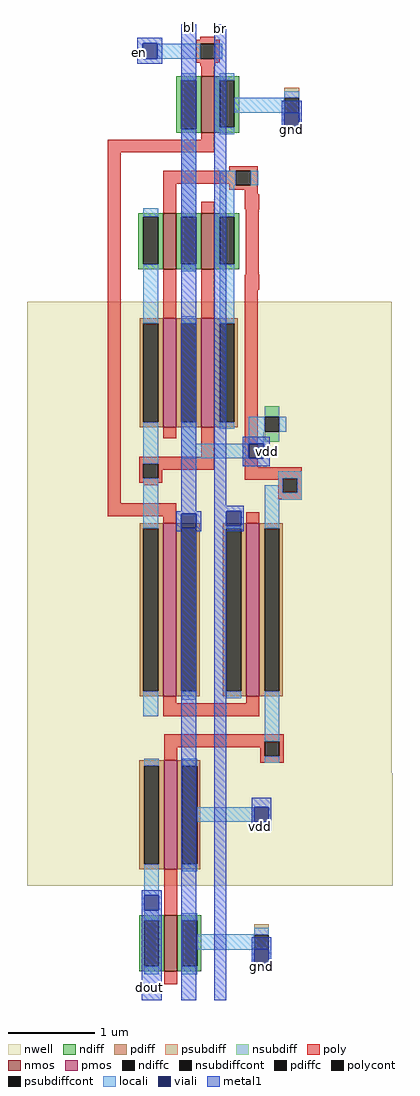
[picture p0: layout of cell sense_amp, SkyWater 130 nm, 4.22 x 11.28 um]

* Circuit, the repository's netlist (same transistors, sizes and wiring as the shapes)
*********************** "sense_amp" ******************************

.SUBCKT sense_amp bl br dout en vdd gnd
M1000 gnd en a_56_432# gnd nshort W=0.65 L=0.15
M1001 a_56_432# dint_bar dint gnd nshort W=0.65 L=0.15
M1002 dint_bar dint a_56_432# gnd nshort W=0.65 L=0.15

M1003 vdd dint_bar dint vdd pshort W=1.26 L=0.15
M1004 dint_bar dint vdd vdd pshort W=1.26 L=0.15

M1005 bl en dint vdd pshort W=2 L=0.15
M1006 dint_bar en br vdd pshort W=2 L=0.15

M1007 vdd dint_bar dout vdd pshort W=1.26 L=0.15
M1008 dout dint_bar gnd gnd nshort W=0.65 L=0.15

.ENDS sense_amp

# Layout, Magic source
magic
tech sky130A
magscale 1 2
<< nwell >>
rect -160 524 682 1614
rect -160 264 684 524
<< nmos >>
rect 242 2005 272 2135
rect 154 1689 184 1819
rect 242 1689 272 1819
rect 156 66 186 196
<< pmos >>
rect 154 1324 184 1576
rect 242 1324 272 1576
rect 154 702 184 1102
rect 346 702 376 1102
rect 156 302 186 554
<< ndiff >>
rect 184 2126 242 2135
rect 184 2013 196 2126
rect 230 2013 242 2126
rect 184 2005 242 2013
rect 272 2126 330 2135
rect 272 2017 284 2126
rect 318 2017 330 2126
rect 272 2005 330 2017
rect 96 1811 154 1819
rect 96 1701 108 1811
rect 142 1701 154 1811
rect 96 1689 154 1701
rect 184 1811 242 1819
rect 184 1701 196 1811
rect 230 1701 242 1811
rect 184 1689 242 1701
rect 272 1811 330 1819
rect 272 1701 284 1811
rect 318 1701 330 1811
rect 272 1689 330 1701
rect 98 184 156 196
rect 98 78 110 184
rect 144 78 156 184
rect 98 66 156 78
rect 186 184 242 196
rect 186 78 198 184
rect 232 78 242 184
rect 186 66 242 78
<< pdiff >>
rect 100 1564 154 1576
rect 100 1336 108 1564
rect 142 1336 154 1564
rect 100 1324 154 1336
rect 184 1564 242 1576
rect 184 1336 196 1564
rect 230 1336 242 1564
rect 184 1324 242 1336
rect 272 1564 326 1576
rect 272 1336 284 1564
rect 318 1336 326 1564
rect 272 1324 326 1336
rect 100 1090 154 1102
rect 100 714 108 1090
rect 142 714 154 1090
rect 100 702 154 714
rect 184 1090 238 1102
rect 184 714 196 1090
rect 230 714 238 1090
rect 184 702 238 714
rect 292 1090 346 1102
rect 292 714 300 1090
rect 334 714 346 1090
rect 292 702 346 714
rect 376 1090 430 1102
rect 376 714 388 1090
rect 422 714 430 1090
rect 376 702 430 714
rect 98 542 156 554
rect 98 314 110 542
rect 144 314 156 542
rect 98 302 156 314
rect 186 542 240 554
rect 186 314 198 542
rect 232 314 240 542
rect 186 302 240 314
<< ndiffc >>
rect 196 2013 230 2126
rect 284 2017 318 2126
rect 108 1701 142 1811
rect 196 1701 230 1811
rect 284 1701 318 1811
rect 110 78 144 184
rect 198 78 232 184
<< pdiffc >>
rect 108 1336 142 1564
rect 196 1336 230 1564
rect 284 1336 318 1564
rect 108 714 142 1090
rect 196 714 230 1090
rect 300 714 334 1090
rect 388 714 422 1090
rect 110 314 144 542
rect 198 314 232 542
<< psubdiff >>
rect 434 2085 468 2109
rect 434 2017 468 2051
rect 364 151 398 175
rect 364 83 398 117
<< nsubdiff >>
rect 388 1348 422 1372
rect 388 1290 422 1314
<< psubdiffcont >>
rect 434 2051 468 2085
rect 364 117 398 151
<< nsubdiffcont >>
rect 388 1314 422 1348
<< poly >>
rect 240 2220 274 2226
rect 230 2210 284 2220
rect 230 2176 240 2210
rect 274 2176 284 2210
rect 230 2166 284 2176
rect 240 2160 274 2166
rect 242 2135 272 2160
rect 242 1989 272 2005
rect 26 1959 272 1989
rect 26 1148 56 1959
rect 306 1917 372 1927
rect 154 1887 322 1917
rect 154 1819 184 1887
rect 306 1883 322 1887
rect 356 1883 372 1917
rect 306 1873 372 1883
rect 342 1862 372 1873
rect 242 1819 272 1845
rect 342 1828 376 1862
rect 154 1576 184 1689
rect 242 1576 272 1689
rect 345 1676 375 1828
rect 342 1642 376 1676
rect 154 1298 184 1324
rect 242 1256 272 1324
rect 98 1240 272 1256
rect 98 1206 108 1240
rect 142 1226 272 1240
rect 342 1232 372 1642
rect 142 1206 152 1226
rect 98 1196 152 1206
rect 342 1206 474 1232
rect 342 1202 430 1206
rect 108 1190 142 1196
rect 420 1172 430 1202
rect 464 1172 474 1206
rect 420 1158 474 1172
rect 430 1156 474 1158
rect 26 1118 184 1148
rect 154 1102 184 1118
rect 346 1102 376 1128
rect 154 686 184 702
rect 346 686 376 702
rect 154 656 376 686
rect 156 598 432 614
rect 156 584 388 598
rect 156 554 186 584
rect 378 564 388 584
rect 422 564 432 598
rect 378 548 432 564
rect 156 196 186 302
rect 156 36 186 66
<< polycont >>
rect 240 2176 274 2210
rect 322 1883 356 1917
rect 108 1206 142 1240
rect 430 1172 464 1206
rect 388 564 422 598
<< locali >>
rect 140 2176 240 2210
rect 274 2176 290 2210
rect 196 2126 230 2142
rect 108 1811 142 1830
rect 108 1564 142 1701
rect 196 1811 230 2013
rect 284 2126 318 2142
rect 434 2085 468 2101
rect 318 2051 434 2085
rect 284 2001 318 2017
rect 196 1685 230 1701
rect 284 1883 322 1917
rect 356 1883 374 1917
rect 284 1811 318 1883
rect 108 1240 142 1336
rect 196 1564 230 1580
rect 196 1286 230 1336
rect 284 1564 318 1701
rect 284 1320 318 1336
rect 352 1314 388 1348
rect 422 1314 438 1348
rect 352 1286 386 1314
rect 196 1252 352 1286
rect 108 1090 142 1206
rect 420 1206 474 1222
rect 420 1190 430 1206
rect 388 1172 430 1190
rect 464 1172 474 1206
rect 388 1156 474 1172
rect 108 656 142 714
rect 196 694 230 714
rect 300 1090 334 1096
rect 300 698 334 714
rect 388 1090 422 1156
rect 388 598 422 714
rect 110 542 144 558
rect 110 242 144 314
rect 198 542 232 558
rect 388 548 422 564
rect 232 412 364 446
rect 198 298 232 314
rect 110 184 144 208
rect 110 60 144 78
rect 196 184 232 200
rect 196 78 198 184
rect 364 152 398 167
rect 232 151 398 152
rect 232 116 364 151
rect 196 60 232 78
<< viali >>
rect 106 2176 140 2212
rect 434 2017 468 2051
rect 352 1252 386 1286
rect 196 1090 230 1124
rect 300 1096 334 1130
rect 364 412 398 446
rect 110 208 144 242
rect 364 83 398 117
<< metal1 >>
rect 94 2212 152 2224
rect 94 2176 106 2212
rect 140 2176 152 2212
rect 94 2164 152 2176
rect 196 1130 230 2256
rect 272 1142 300 2256
rect 428 2051 474 2079
rect 428 2017 434 2051
rect 468 2017 474 2051
rect 428 2005 474 2017
rect 338 1286 400 1302
rect 338 1252 352 1286
rect 386 1252 400 1286
rect 338 1234 400 1252
rect 272 1130 340 1142
rect 184 1124 242 1130
rect 184 1090 196 1124
rect 230 1090 242 1124
rect 184 1084 242 1090
rect 272 1096 300 1130
rect 334 1096 340 1130
rect 272 1084 340 1096
rect 104 242 150 254
rect 104 208 110 242
rect 144 208 150 242
rect 104 0 150 208
rect 196 0 230 1084
rect 272 0 300 1084
rect 358 446 404 468
rect 358 412 364 446
rect 398 412 404 446
rect 358 392 404 412
rect 358 117 404 145
rect 358 83 364 117
rect 398 83 404 117
rect 358 71 404 83
<< labels >>
rlabel metal1 394 1268 394 1268 1 vdd
rlabel metal1 450 2011 450 2011 1 gnd
rlabel metal1 214 2248 214 2248 1 bl
rlabel metal1 286 2246 286 2246 1 br
rlabel metal1 122 28 124 28 1 dout
rlabel metal1 380 77 380 77 1 gnd
rlabel metal1 378 400 378 400 1 vdd
rlabel metal1 100 2190 100 2190 1 en
<< properties >>
string FIXED_BBOX 0 0 500 2256
<< end >>
